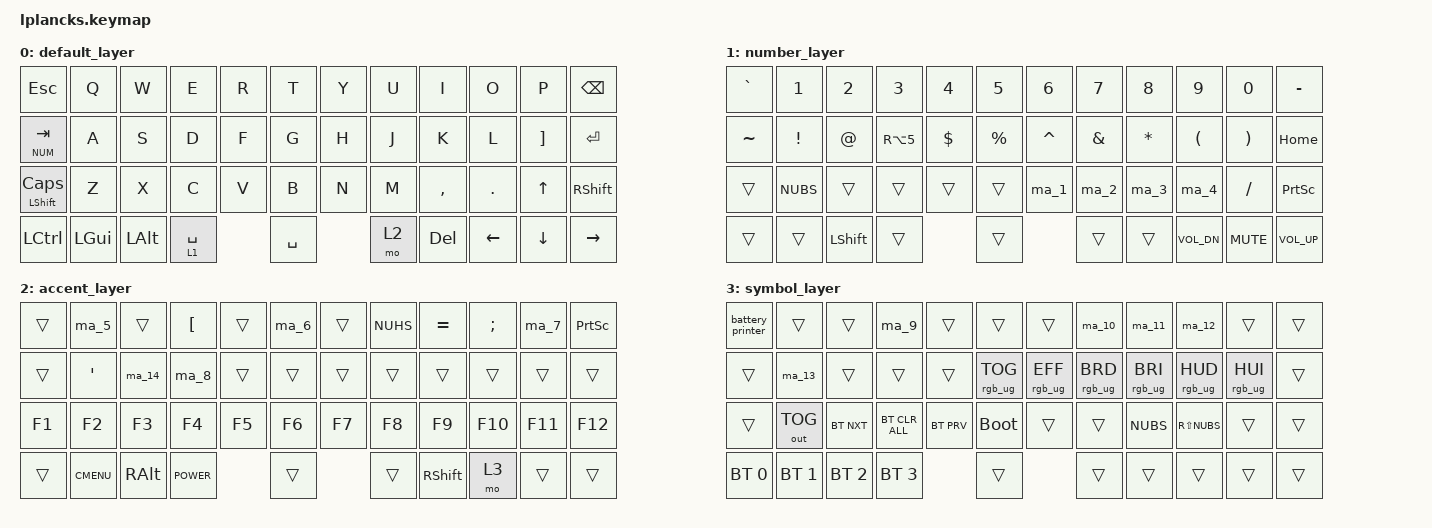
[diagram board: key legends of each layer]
/*
 * Copyright (c) 2020 The ZMK Contributors
 *
 *
 * SPDX-License-Identifier: MIT
 */

#include <behaviors.dtsi>
#include <dt-bindings/zmk/bt.h>
#include <dt-bindings/zmk/keys.h>
#include <dt-bindings/zmk/outputs.h>
#include <dt-bindings/zmk/rgb.h>

#define DEF 0
#define NUM 1
#define ACC 2
#define SYM 3

/ {
    macros {
        /* @: AltGr; */

        ma_1: ma_1 {
            label = "ma_1";
            compatible = "zmk,behavior-macro";
            #binding-cells = <0>;
            bindings =
                <&macro_press>,
                <&kp RALT>,
                <&macro_tap>,
                <&kp SEMI>,
                <&macro_release>,
                <&kp RALT>;
        };

        /* #: AltGr' */

        ma_2: ma_2 {
            label = "ma_2";
            compatible = "zmk,behavior-macro";
            #binding-cells = <0>;
            bindings =
                <&macro_press>,
                <&kp RALT>,
                <&macro_tap>,
                <&kp SQT>,
                <&macro_release>,
                <&kp RALT>;
        };

        /* [: AltGr[ */

        ma_3: ma_3 {
            label = "ma_3";
            compatible = "zmk,behavior-macro";
            #binding-cells = <0>;
            bindings =
                <&macro_press>,
                <&kp RALT>,
                <&macro_tap>,
                <&kp LBKT>,
                <&macro_release>,
                <&kp RALT>;
        };

        /* ]: AltGr] */

        ma_4: ma_4 {
            label = "ma_4";
            compatible = "zmk,behavior-macro";
            #binding-cells = <0>;
            bindings =
                <&macro_press>,
                <&kp RALT>,
                <&macro_tap>,
                <&kp RBKT>,
                <&macro_release>,
                <&kp RALT>;
        };

        /* ²: Alt253 */

        ma_5: ma_5 {
            label = "ma_5";
            compatible = "zmk,behavior-macro";
            #binding-cells = <0>;
            bindings =
                <&macro_press>,
                <&kp LALT>,
                <&macro_tap>,
                <&kp KP_N2>,
                <&macro_tap>,
                <&kp KP_N5>,
                <&macro_tap>,
                <&kp KP_N3>,
                <&macro_release>,
                <&kp LALT>;
        };

        /* ~: Alt126 */

        ma_6: ma_6 {
            label = "ma_6";
            compatible = "zmk,behavior-macro";
            #binding-cells = <0>;
            bindings =
                <&macro_press>,
                <&kp LALT>,
                <&macro_tap>,
                <&kp KP_N1>,
                <&macro_tap>,
                <&kp KP_N2>,
                <&macro_tap>,
                <&kp KP_N6>,
                <&macro_release>,
                <&kp LALT>;
        };

        /* ×: Alt0215 */

        ma_7: ma_7 {
            label = "ma_7";
            compatible = "zmk,behavior-macro";
            #binding-cells = <0>;
            bindings =
                <&macro_press>,
                <&kp LALT>,
                <&macro_tap>,
                <&kp KP_N0>,
                <&macro_tap>,
                <&kp KP_N2>,
                <&macro_tap>,
                <&kp KP_N1>,
                <&macro_tap>,
                <&kp KP_N5>,
                <&macro_release>,
                <&kp LALT>;
        };

        /* ÷: Alt0247 */

        ma_8: ma_8 {
            label = "ma_8";
            compatible = "zmk,behavior-macro";
            #binding-cells = <0>;
            bindings =
                <&macro_press>,
                <&kp LALT>,
                <&macro_tap>,
                <&kp KP_N0>,
                <&macro_tap>,
                <&kp KP_N2>,
                <&macro_tap>,
                <&kp KP_N4>,
                <&macro_tap>,
                <&kp KP_N7>,
                <&macro_release>,
                <&kp LALT>;
        };

        /* È: Alt0200 */

        ma_9: ma_9 {
            label = "ma_9";
            compatible = "zmk,behavior-macro";
            #binding-cells = <0>;
            bindings =
                <&macro_press>,
                <&kp LALT>,
                <&macro_tap>,
                <&kp KP_N0>,
                <&macro_tap>,
                <&kp KP_N2>,
                <&macro_tap>,
                <&kp KP_N0>,
                <&macro_tap>,
                <&kp KP_N0>,
                <&macro_release>,
                <&kp LALT>;
        };

        /* Ù: Alt0217 */

        ma_10: ma_10 {
            label = "ma_10";
            compatible = "zmk,behavior-macro";
            #binding-cells = <0>;
            bindings =
                <&macro_press>,
                <&kp LALT>,
                <&macro_tap>,
                <&kp KP_N0>,
                <&macro_tap>,
                <&kp KP_N2>,
                <&macro_tap>,
                <&kp KP_N1>,
                <&macro_tap>,
                <&kp KP_N7>,
                <&macro_release>,
                <&kp LALT>;
        };

        /* Ì: Alt0204 */

        ma_11: ma_11 {
            label = "ma_11";
            compatible = "zmk,behavior-macro";
            #binding-cells = <0>;
            bindings =
                <&macro_press>,
                <&kp LALT>,
                <&macro_tap>,
                <&kp KP_N0>,
                <&macro_tap>,
                <&kp KP_N2>,
                <&macro_tap>,
                <&kp KP_N0>,
                <&macro_tap>,
                <&kp KP_N4>,
                <&macro_release>,
                <&kp LALT>;
        };

        /* Ò: Alt0210 */

        ma_12: ma_12 {
            label = "ma_12";
            compatible = "zmk,behavior-macro";
            #binding-cells = <0>;
            bindings =
                <&macro_press>,
                <&kp LALT>,
                <&macro_tap>,
                <&kp KP_N0>,
                <&macro_tap>,
                <&kp KP_N2>,
                <&macro_tap>,
                <&kp KP_N1>,
                <&macro_tap>,
                <&kp KP_N0>,
                <&macro_release>,
                <&kp LALT>;
        };

        /* À: Alt0192 */

        ma_13: ma_13 {
            label = "ma_13";
            compatible = "zmk,behavior-macro";
            #binding-cells = <0>;
            bindings =
                <&macro_press>,
                <&kp LALT>,
                <&macro_tap>,
                <&kp KP_N0>,
                <&macro_tap>,
                <&kp KP_N1>,
                <&macro_tap>,
                <&kp KP_N9>,
                <&macro_tap>,
                <&kp KP_N2>,
                <&macro_release>,
                <&kp LALT>;
        };

        ma_14: ma_14 {
            compatible = "zmk,behavior-macro";
            #binding-cells = <0>;
            bindings =
                <&macro_press>,
                <&kp LGUI>,
                <&macro_press>,
                <&kp LSHIFT>,
                <&macro_tap>,
                <&kp S>,
                <&macro_release>,
                <&kp LSHIFT>,
                <&macro_release>,
                <&kp LGUI>;

            label = "MA_14";
        };
    };
};

/ {
    behaviors {
        ht: hold_tap {
            compatible = "zmk,behavior-hold-tap";
            label = "Hold Tap";
            #binding-cells = <2>;
            tapping-term-ms = <200>;
            flavor = "tap-preferred";
            bindings = <&kp>, <&kp>;
        };
		battery_printer: battery_printer {
			compatible = "zmk,behavior-battery-printer";
			label = "BATTERY_PRINTER";
			#binding-cells = <0>;
		};
    };

    keymap {
        compatible = "zmk,keymap";

        default_layer {
            bindings = <
&kp ESC         &kp Q     &kp W     &kp E        &kp R  &kp T      &kp Y  &kp U  &kp I       &kp O           &kp P           &kp BSPC
&lt NUM TAB     &kp A     &kp S     &kp D        &kp F  &kp G      &kp H  &kp J  &kp K       &kp L           &kp RBKT        &kp RET
&mt LSHFT CAPS  &kp Z     &kp X     &kp C        &kp V  &kp B      &kp N  &kp M  &kp COMMA   &kp DOT         &kp UP          &kp RSHFT
&kp LCTRL       &kp LGUI  &kp LALT  &lt 1 SPACE         &kp SPACE         &mo 2  &kp DELETE  &kp LEFT_ARROW  &kp DOWN_ARROW  &kp RIGHT_ARROW
            >;
        };

        number_layer {
            bindings = <
&kp GRAVE  &kp N1    &kp N2     &kp N3      &kp N4    &kp N5     &kp N6     &kp N7    &kp N8     &kp N9        &kp N0      &kp MINUS
&kp TILDE  &kp EXCL  &kp AT     &kp RA(N5)  &kp DLLR  &kp PRCNT  &kp CARET  &kp AMPS  &kp ASTRK  &kp LPAR      &kp RPAR    &kp HOME
&trans     &kp NUBS  &trans     &trans      &trans    &trans     &ma_1      &ma_2     &ma_3      &ma_4         &kp FSLH    &kp PSCRN
&trans     &trans    &kp LSHFT  &trans                &trans                &trans    &trans     &kp C_VOL_DN  &kp K_MUTE  &kp C_VOL_UP
            >;
        };

        accent_layer {
            bindings = <
&trans  &ma_5        &trans         &kp LBKT     &trans  &ma_6   &trans  &kp NUHS  &kp EQUAL        &kp SEMI  &ma_7    &kp PSCRN
&trans  &kp SQT      &ma_14         &ma_8        &trans  &trans  &trans  &trans    &trans           &trans    &trans   &trans
&kp F1  &kp F2       &kp F3         &kp F4       &kp F5  &kp F6  &kp F7  &kp F8    &kp F9           &kp F10   &kp F11  &kp F12
&trans  &kp K_CMENU  &kp RIGHT_ALT  &kp K_POWER          &trans          &trans    &kp RIGHT_SHIFT  &mo 3     &trans   &trans
            >;
        };

        symbol_layer {
            bindings = <
&battery_printer        &trans        &trans        &ma_9           &trans      &trans           &trans           &ma_10           &ma_11           &ma_12           &trans           &trans
&trans        &ma_13        &trans        &trans          &trans      &rgb_ug RGB_TOG  &rgb_ug RGB_EFF  &rgb_ug RGB_BRD  &rgb_ug RGB_BRI  &rgb_ug RGB_HUD  &rgb_ug RGB_HUI  &trans
&trans        &out OUT_TOG  &bt BT_NXT    &bt BT_CLR_ALL  &bt BT_PRV  &bootloader      &trans           &trans           &kp NUBS         &kp RS(NUBS)     &trans           &trans
&bt BT_SEL 0  &bt BT_SEL 1  &bt BT_SEL 2  &bt BT_SEL 3                &trans                            &trans           &trans           &trans           &trans           &trans
            >;
        };
    };
};
